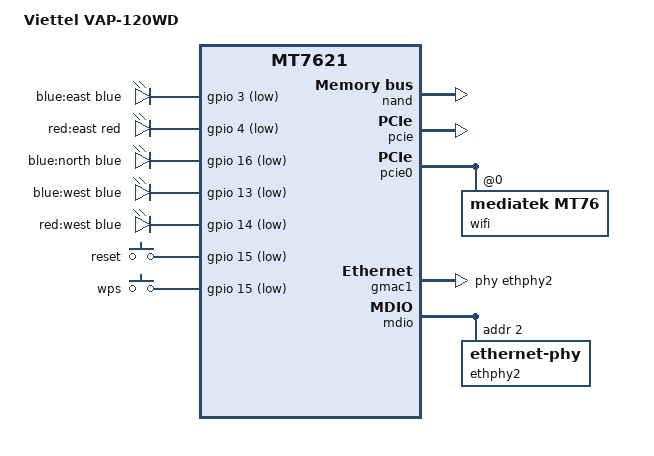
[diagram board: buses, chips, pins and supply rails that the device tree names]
// SPDX-License-Identifier: GPL-2.0-or-later OR MIT

#include "mt7621.dtsi"

#include <dt-bindings/gpio/gpio.h>
#include <dt-bindings/input/input.h>
#include <dt-bindings/leds/common.h>

/ {
	compatible = "viettel,vap-120wd", "mediatek,mt7621-soc";
	model = "Viettel VAP-120WD";

	aliases {
		led-boot = &led_status_blue_north;
		led-failsafe = &led_status_red_east;
		led-running = &led_status_blue_north;
		led-upgrade = &led_status_red_east;
		label-mac-device = &gmac0;
	};

	chosen {
		bootargs = "console=ttyS0,57600n8";
	};

	leds {
		compatible = "gpio-leds";

		led_status_blue_east: led@3 {
			label = "blue:east";
			color = <LED_COLOR_ID_BLUE>;
			gpios = <&gpio 3 GPIO_ACTIVE_LOW>;
		};

		led_status_red_east: led@4 {
			label = "red:east";
			color = <LED_COLOR_ID_RED>;
			gpios = <&gpio 4 GPIO_ACTIVE_LOW>;
		};

		led_status_blue_north: led@16 {
			label = "blue:north";
			color = <LED_COLOR_ID_BLUE>;
			gpios = <&gpio 16 GPIO_ACTIVE_LOW>;
		};

		led_status_blue_west: led@13 {
			label = "blue:west";
			color = <LED_COLOR_ID_BLUE>;
			gpios = <&gpio 13 GPIO_ACTIVE_LOW>;
		};

		led_status_red_west: led@14 {
			label = "red:west";
			color = <LED_COLOR_ID_BLUE>;
			gpios = <&gpio 14 GPIO_ACTIVE_LOW>;
		};
	};

	keys {
		compatible = "gpio-keys";

		reset {
			label = "reset";
			gpios = <&gpio 15 GPIO_ACTIVE_LOW>;
			debounce-interval = <10>;
			linux,code = <KEY_RESTART>;
		};

		wps {
			label = "wps";
			gpios = <&gpio 15 GPIO_ACTIVE_LOW>;
			linux,code = <KEY_WPS_BUTTON>;
		};
	};
};

&nand {
	status = "okay";

	partitions {
		compatible = "fixed-partitions";
		#address-cells = <1>;
		#size-cells = <1>;

		uboot: partition@0 {
			label = "uboot";
			reg = <0x00000 0x80000>;
		};

		uboot_env: partition@80000 {
			label = "uboot_env";
			reg = <0x80000 0x80000>;
		};

		factory: partition@100000 {
			label = "factory";
			reg = <0x100000 0x40000>;
		};

		kernel: partition@140000 {
			label = "kernel";
			reg = <0x140000 0x400000>;
		};

		ubi: partition@540000 {
			label = "ubi";
			reg = <0x540000 0x72c0000>;
		};
	};
};

&pcie {
	status = "okay";
};

&pcie0 {
	wifi@0,0 {
		compatible = "mediatek,mt76";
		reg = <0x0000 0 0 0 0>;
		mediatek,mtd-eeprom = <&factory 0x0>;
		nvmem-cells = <&macaddr_factory_4 0>;
		nvmem-cell-names = "mac-address";
	};
};

&gmac0 {
	nvmem-cells = <&macaddr_factory_e000 0>;
	nvmem-cell-names = "mac-address";
};

&gmac1 {
	status = "okay";
	label = "wan";
	phy-handle = <&ethphy2>;

	nvmem-cells = <&macaddr_factory_e006 0>;
	nvmem-cell-names = "mac-address";
};

&mdio {
	ethphy2: ethernet-phy@2 {
		reg = <2>;
	};
};

&switch0 {
	ports {
		port@3 {
			status = "okay";
			label = "lan1";
		};

		port@4 {
			status = "okay";
			label = "lan2";
		};
	};
};

&state_default {
	gpio {
		groups = "i2c", "jtag", "uart2", "uart3", "wdt";
		function = "gpio";
	};
};

&factory {
	compatible = "nvmem-cells";
	#address-cells = <1>;
	#size-cells = <1>;

	macaddr_factory_4: macaddr@4 {
		reg = <0x4 0x6>;
	};

	macaddr_factory_e000: macaddr@e000 {
		reg = <0xe000 0x6>;
	};

	macaddr_factory_e006: macaddr@e006 {
		reg = <0xe006 0x6>;
	};
};
